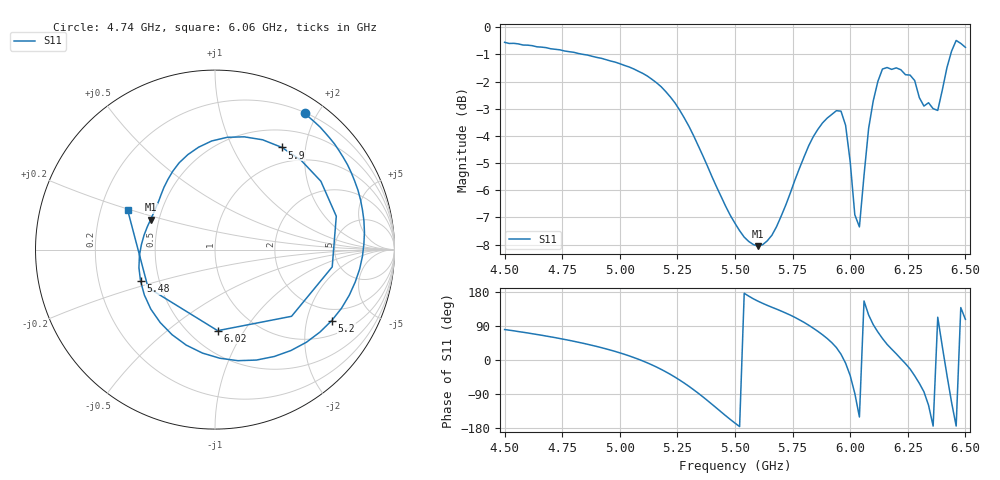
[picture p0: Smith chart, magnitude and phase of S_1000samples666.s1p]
! TOUCHSTONE file generated by CST MICROWAVE STUDIO
! Date and time: Fri Oct 28 23:17:06 2022
! Project name: L.cst
! Parameters = {Di=1.27; Epsilon_r=1.56; InnerDiameter=1.27; Length=2; Lf=10; Lg=60; OuterConductorThickness=0.2921; OuterDiameter=3.6; Wf=3; Wp=41.2; de=1.5; df=6.8; g=0.8; gx=4.28308; gy=1.77519; h=2.34; hf=1.524; px=11.2442; py=13.7682; w=9.7; wx=6.96108; wy=11.993}
! Header version: 2018
! Port assignment regex: !\s*Touchstone port\s*([0-9]+)\s*=\s*(CST MWS port|CST DS port)\s*([0-9]+|Zmin|Zmax)\s*\(\"(.*)\"\)(\s*mode\s*([0-9]+))?.*
! Touchstone port assignment:
! Touchstone port 1 = CST MWS port 1 ("")
# GHz S DB R 50
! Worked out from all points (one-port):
!   101 points, 4.5 GHz to 6.5 GHz, reference 50 ohm
!   lowest |S11| = -8.1 dB at 5.6 GHz (marker M1), VSWR 2.31, Z = 22.5 + j8.86 ohm
!   |S11| at or under -10 dB: nowhere
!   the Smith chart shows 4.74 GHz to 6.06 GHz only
!   S11 on the Smith chart (normalised r, x): 4.74 GHz: 0.21, +1.84; 5.2 GHz: 1.51, -2.84; 5.48 GHz: 0.39, -0.17; 5.9 GHz: 0.75, +1.59; 6.02 GHz: 0.68, -0.77; 6.06 GHz: 0.32, +0.19
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4.5  -0.55 80.4
4.74  -0.83 56.6
4.76  -0.87 54.3
5  -1.34 18.9
5.2  -2.37 -31.3
5.26  -3.05 -53.0
5.36  -4.72 -96.9
5.48  -6.93 -157.1
5.5  -7.22 -166.6
5.6  -8.06 155.2
5.76  -5.63 112.4
5.9  -3.34 56.8
5.96  -3.09 15.4
6  -4.95 -41.1
6.02  -6.90 -88.1
6.06  -5.45 155.7
6.12  -2.00 74.0
6.18  -1.55 28.7
6.26  -1.76 -23.8
6.34  -2.78 -119.2
6.36  -3.00 -174.5
6.38  -3.06 112.9
6.4  -2.30 34.9
6.42  -1.48 -40.3
6.44  -0.88 -111.8
6.46  -0.49 -174.3
6.48  -0.59 138.3
6.5  -0.74 107.3
